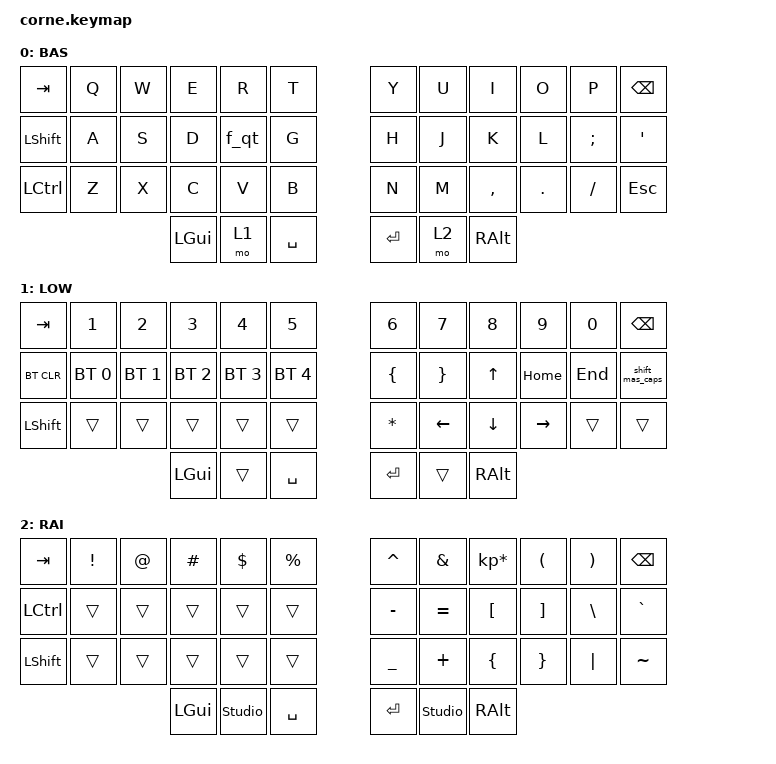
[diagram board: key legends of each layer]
/*
 * Copyright (c) 2020 The ZMK Contributors
 *
 * SPDX-License-Identifier: MIT
 */

#include <dt-bindings/led/led.h>
#include <dt-bindings/zmk/reset.h>
#include <behaviors.dtsi>
#include <dt-bindings/zmk/bt.h>
#include <dt-bindings/zmk/keys.h>

&led_strip { chain-length = <27>; };

/ {
    behaviors {
        f_qt: f_qt {
            compatible = "zmk,behavior-tap-dance";
            label = "F_QT";
            #binding-cells = <0>;
            bindings = <&sk F>, <&kp LS(DOUBLE_QUOTES)>;
        };

        shift_mas_caps: shift_mas_caps {
            compatible = "zmk,behavior-tap-dance";
            label = "SHIFT_MAS_CAPS";
            #binding-cells = <0>;
            bindings = <&kp RIGHT_SHIFT>, <&kp CAPS>;
        };
    };

    keymap {
        compatible = "zmk,keymap";

        default_layer {
            display-name = "BAS";

            // -----------------------------------------------------------------------------------------
            // |  TAB |  Q  |  W  |  E  |  R  |  T  |   |  Y  |  U   |  I  |  O  |  P  | BKSP |
            // | CTRL |  A  |  S  |  D  |  F  |  G  |   |  H  |  J   |  K  |  L  |  ;  |  '   |
            // | SHFT |  Z  |  X  |  C  |  V  |  B  |   |  N  |  M   |  ,  |  .  |  /  | ESC  |
            //                    | GUI | LWR | SPC |   | ENT | RSE  | ALT |

            bindings = <
&kp TAB           &kp Q  &kp W  &kp E     &kp R  &kp T        &kp Y      &kp U  &kp I      &kp O    &kp P     &kp BSPC
&kp LEFT_SHIFT    &kp A  &kp S  &kp D     &f_qt  &kp G        &kp H      &kp J  &kp K      &kp L    &kp SEMI  &kp SQT
&kp LEFT_CONTROL  &kp Z  &kp X  &kp C     &kp V  &kp B        &kp N      &kp M  &kp COMMA  &kp DOT  &kp FSLH  &kp ESC
                                &kp LGUI  &mo 1  &kp SPACE    &kp ENTER  &mo 2  &kp RALT
            >;
        };

        lower_layer {
            display-name = "LOW";

            // -----------------------------------------------------------------------------------------
            // |  TAB |  1  |  2  |  3  |  4  |  5  |   |  6  |  7  |  8  |  9  |  0  | BKSP |
            // | BTCLR| BT1 | BT2 | BT3 | BT4 | BT5 |   | LFT | DWN |  UP | RGT |     |      |
            // | SHFT |     |     |     |     |     |   |     |     |     |     |     |      |
            //                    | GUI |     | SPC |   | ENT |     | ALT |

            bindings = <
&kp TAB     &kp N1        &kp N2        &kp N3        &kp N4        &kp N5          &kp N6          &kp N7           &kp N8    &kp N9     &kp N0   &kp BSPC
&bt BT_CLR  &bt BT_SEL 0  &bt BT_SEL 1  &bt BT_SEL 2  &bt BT_SEL 3  &bt BT_SEL 4    &kp LEFT_BRACE  &kp RIGHT_BRACE  &kp UP    &kp HOME   &kp END  &shift_mas_caps
&kp LSHFT   &trans        &trans        &trans        &trans        &trans          &kp ASTERISK    &kp LEFT         &kp DOWN  &kp RIGHT  &trans   &trans
                                        &kp LGUI      &trans        &kp SPACE       &kp RET         &trans           &kp RALT
            >;
        };

        raise_layer {
            display-name = "RAI";

            // -----------------------------------------------------------------------------------------
            // |  TAB |  !  |  @  |  #  |  $  |  %  |   |  ^  |  &  |  *  |  (  |  )  | BKSP |
            // | CTRL |     |     |     |     |     |   |  -  |  =  |  [  |  ]  |  \  |  `   |
            // | SHFT |     |     |     |     |     |   |  _  |  +  |  {  |  }  | "|" |  ~   |
            //                    | GUI |     | SPC |   | ENT |     | ALT |

            bindings = <
&kp TAB    &kp EXCL  &kp AT  &kp HASH  &kp DLLR        &kp PRCNT    &kp CARET  &kp AMPS        &kp KP_MULTIPLY  &kp LPAR  &kp RPAR  &kp BSPC
&kp LCTRL  &trans    &trans  &trans    &trans          &trans       &kp MINUS  &kp EQUAL       &kp LBKT         &kp RBKT  &kp BSLH  &kp GRAVE
&kp LSHFT  &trans    &trans  &trans    &trans          &trans       &kp UNDER  &kp PLUS        &kp LBRC         &kp RBRC  &kp PIPE  &kp TILDE
                             &kp LGUI  &studio_unlock  &kp SPACE    &kp RET    &studio_unlock  &kp RALT
            >;
        };

        extra_1 { status = "reserved"; };

        extra_2 { status = "reserved"; };

        extra_3 { status = "reserved"; };
    };
};
